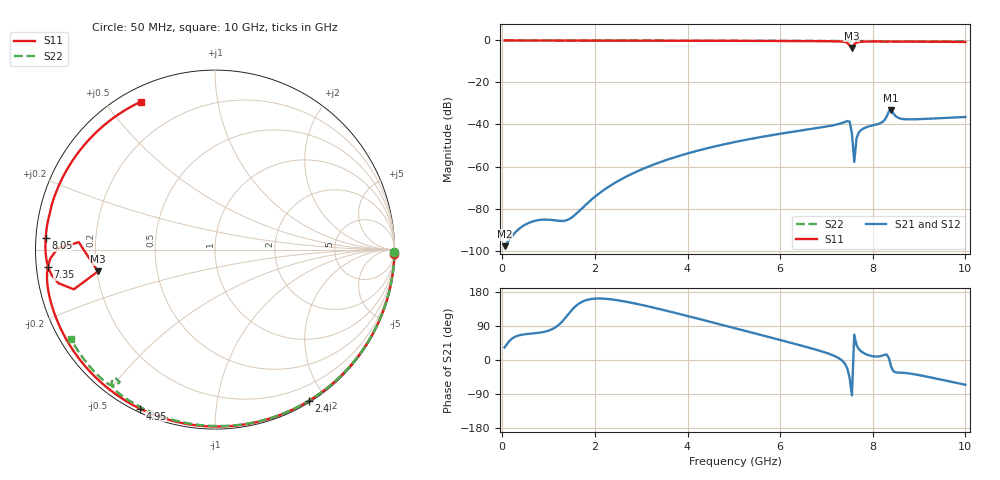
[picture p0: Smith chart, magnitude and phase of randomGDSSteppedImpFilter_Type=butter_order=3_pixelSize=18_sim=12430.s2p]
! freq	dB(S11)	phase(S11)	dB(S12)	phase(S12)
!  dB(S21)	phase(S21)	dB(S22)	phase(S22)
!S-par simulation data
#  GHz  S  DB  R 50
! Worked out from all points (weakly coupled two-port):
!   200 points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, 50 MHz to 10 GHz, reference 50 ohm
!   highest |S21| = -33.25 dB at 8.4 GHz (marker M1); lowest = -97.9 dB at 50 MHz (marker M2)
!   lowest |S11| = -3.6 dB at 7.55 GHz (marker M3), VSWR 4.95, Z = 10.2 - j4.44 ohm
!   |S11| at or under -10 dB: nowhere
!   |S22| runs from -0.9 to 0.0 dB; largest |S21 - S12| = 0
!   S11 on the Smith chart (normalised r, x): 50 MHz: 0, -92; 2.4 GHz: 0.02, -1.80; 4.95 GHz: 0.01, -0.63; 7.35 GHz: 0.03, -0.05; 8.05 GHz: 0.03, +0.03; 10 GHz: 0.06, +0.62
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0.05  -0.00 -1.2  -97.91 33.3  -97.91 33.3  -0.00 -0.9
0.85  -0.02 -21.1  -85.32 73.0  -85.32 73.0  -0.02 -14.6
1.75  -0.05 -42.8  -79.29 155.1  -79.29 155.1  -0.04 -29.7
2.4  -0.07 -58.1  -68.20 159.3  -68.20 159.3  -0.05 -40.4
3.4  -0.11 -81.1  -58.00 134.3  -58.00 134.3  -0.07 -56.4
4.95  -0.18 -115.3  -48.66 86.2  -48.66 86.2  -0.12 -80.0
5.05  -0.18 -117.5  -48.21 83.1  -48.21 83.1  -0.13 -81.4
6.7  -0.31 -154.8  -42.01 29.8  -42.01 29.8  -0.20 -104.8
7.35  -0.57 -174.1  -39.20 -2.8  -39.20 -2.8  -0.25 -113.7
7.45  -1.14 179.6  -38.36 -22.2  -38.36 -22.2  -0.25 -115.0
7.5  -2.38 176.9  -38.61 -47.0  -38.61 -47.0  -0.26 -115.7
7.55  -3.56 -169.4  -44.26 -93.6  -44.26 -93.6  -0.27 -116.4
7.6  -1.76 -164.3  -57.82 67.0  -57.82 67.0  -0.27 -117.1
7.65  -0.99 -167.9  -46.43 38.9  -46.43 38.9  -0.27 -117.8
7.7  -0.72 -171.1  -43.82 28.7  -43.82 28.7  -0.28 -118.4
8.05  -0.49 176.1  -40.14 9.3  -40.14 9.3  -0.32 -123.5
8.25  -0.50 170.2  -38.02 13.6  -38.02 13.6  -0.44 -127.0
8.35  -0.52 167.4  -33.63 4.6  -33.63 4.6  -0.87 -127.9
8.4  -0.51 166.1  -33.25 -18.7  -33.25 -18.7  -0.83 -125.8
8.5  -0.51 163.2  -36.14 -32.8  -36.14 -32.8  -0.45 -127.1
8.7  -0.53 157.4  -37.49 -34.2  -37.49 -34.2  -0.38 -130.6
10  -0.71 116.6  -36.43 -65.4  -36.43 -65.4  -0.50 -148.2
